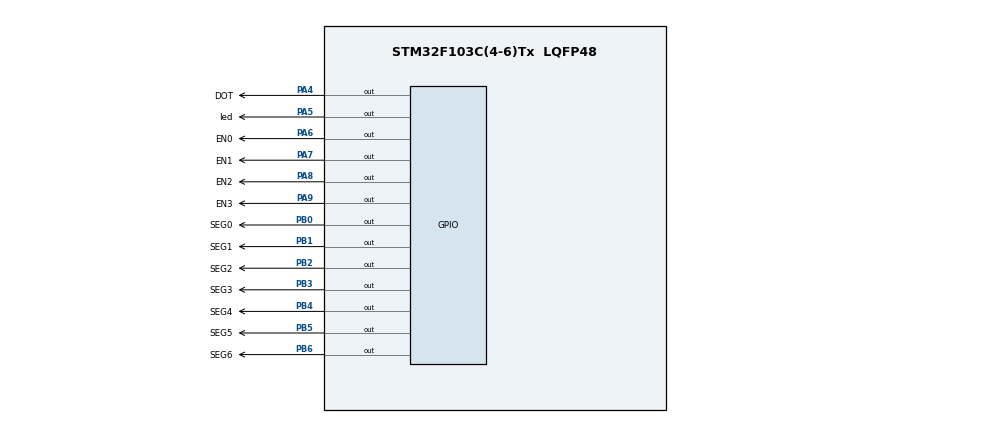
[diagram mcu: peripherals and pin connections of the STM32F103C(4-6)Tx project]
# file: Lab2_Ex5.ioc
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Mcu.Family=STM32F1
Mcu.Name=STM32F103C(4-6)Tx
Mcu.Package=LQFP48
NVIC.PriorityGroup=NVIC_PRIORITYGROUP_4
NVIC.TIM2_IRQn=true\:0\:0\:false\:false\:true\:true\:true
PA4.GPIO_Label=DOT
PA4.Signal=GPIO_Output
PA5.GPIO_Label=led
PA5.Signal=GPIO_Output
PA6.GPIO_Label=EN0
PA6.Signal=GPIO_Output
PA7.GPIO_Label=EN1
PA7.Signal=GPIO_Output
PA8.GPIO_Label=EN2
PA8.Signal=GPIO_Output
PA9.GPIO_Label=EN3
PA9.Signal=GPIO_Output
PB0.GPIO_Label=SEG0
PB0.Signal=GPIO_Output
PB1.GPIO_Label=SEG1
PB1.Signal=GPIO_Output
PB2.GPIO_Label=SEG2
PB2.Signal=GPIO_Output
PB3.GPIO_Label=SEG3
PB3.Signal=GPIO_Output
PB4.GPIO_Label=SEG4
PB4.Signal=GPIO_Output
PB5.GPIO_Label=SEG5
PB5.Signal=GPIO_Output
PB6.GPIO_Label=SEG6
PB6.Signal=GPIO_Output
ProjectManager.HeapSize=0x200
ProjectManager.StackSize=0x400
ProjectManager.TargetToolchain=STM32CubeIDE
RCC.APB1Freq_Value=8000000
RCC.APB2Freq_Value=8000000
TIM2.Period=9
TIM2.Prescaler=7999
VP_SYS_VS_ND.Mode=No_Debug
VP_TIM2_VS_ClockSourceINT.Mode=Internal
board=custom

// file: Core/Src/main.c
/* USER CODE BEGIN Header */
/**
  ******************************************************************************
  * @file           : main.c
  * @brief          : Main program body
  ******************************************************************************
  * @attention
  *
  * <h2><center>&copy; Copyright (c) 2021 STMicroelectronics.
  * All rights reserved.</center></h2>
  *
  * This software component is licensed by ST under BSD 3-Clause license,
  * the "License"; You may not use this file except in compliance with the
  * License. You may obtain a copy of the License at:
  *                        opensource.org/licenses/BSD-3-Clause
  *
  ******************************************************************************
  */
/* USER CODE END Header */
#include "main.h"

TIM_HandleTypeDef htim2;

void SystemClock_Config(void);
static void MX_GPIO_Init(void);
static void MX_TIM2_Init(void);

/* USER CODE BEGIN 0 */
void display7SEG(int num){
	switch(num){
	case 0:
		HAL_GPIO_WritePin(SEG0_GPIO_Port, SEG0_Pin, GPIO_PIN_RESET);
		HAL_GPIO_WritePin(SEG1_GPIO_Port, SEG1_Pin, GPIO_PIN_RESET);
		HAL_GPIO_WritePin(SEG2_GPIO_Port, SEG2_Pin, GPIO_PIN_RESET);
		HAL_GPIO_WritePin(SEG3_GPIO_Port, SEG3_Pin, GPIO_PIN_RESET);
		HAL_GPIO_WritePin(SEG4_GPIO_Port, SEG4_Pin, GPIO_PIN_RESET);
		HAL_GPIO_WritePin(SEG5_GPIO_Port, SEG5_Pin, GPIO_PIN_RESET);
		HAL_GPIO_WritePin(SEG6_GPIO_Port, SEG6_Pin, GPIO_PIN_SET);
		break;
	case 1:
		HAL_GPIO_WritePin(SEG0_GPIO_Port, SEG0_Pin, GPIO_PIN_SET);
		HAL_GPIO_WritePin(SEG1_GPIO_Port, SEG1_Pin, GPIO_PIN_RESET);
		HAL_GPIO_WritePin(SEG2_GPIO_Port, SEG2_Pin, GPIO_PIN_RESET);
		HAL_GPIO_WritePin(SEG3_GPIO_Port, SEG3_Pin, GPIO_PIN_SET);
		HAL_GPIO_WritePin(SEG4_GPIO_Port, SEG4_Pin, GPIO_PIN_SET);
		HAL_GPIO_WritePin(SEG5_GPIO_Port, SEG5_Pin, GPIO_PIN_SET);
		HAL_GPIO_WritePin(SEG6_GPIO_Port, SEG6_Pin, GPIO_PIN_SET);
		break;
	case 2:
		HAL_GPIO_WritePin(SEG0_GPIO_Port, SEG0_Pin, GPIO_PIN_RESET);
		HAL_GPIO_WritePin(SEG1_GPIO_Port, SEG1_Pin, GPIO_PIN_RESET);
		HAL_GPIO_WritePin(SEG2_GPIO_Port, SEG2_Pin, GPIO_PIN_SET);
		HAL_GPIO_WritePin(SEG3_GPIO_Port, SEG3_Pin, GPIO_PIN_RESET);
		HAL_GPIO_WritePin(SEG4_GPIO_Port, SEG4_Pin, GPIO_PIN_RESET);
		HAL_GPIO_WritePin(SEG5_GPIO_Port, SEG5_Pin, GPIO_PIN_SET);
		HAL_GPIO_WritePin(SEG6_GPIO_Port, SEG6_Pin, GPIO_PIN_RESET);
		break;
	case 3:
		HAL_GPIO_WritePin(SEG0_GPIO_Port, SEG0_Pin, GPIO_PIN_RESET);
		HAL_GPIO_WritePin(SEG1_GPIO_Port, SEG1_Pin, GPIO_PIN_RESET);
		HAL_GPIO_WritePin(SEG2_GPIO_Port, SEG2_Pin, GPIO_PIN_RESET);
		HAL_GPIO_WritePin(SEG3_GPIO_Port, SEG3_Pin, GPIO_PIN_RESET);
		HAL_GPIO_WritePin(SEG4_GPIO_Port, SEG4_Pin, GPIO_PIN_SET);
		HAL_GPIO_WritePin(SEG5_GPIO_Port, SEG5_Pin, GPIO_PIN_SET);
		HAL_GPIO_WritePin(SEG6_GPIO_Port, SEG6_Pin, GPIO_PIN_RESET);
		break;
	case 4:
		HAL_GPIO_WritePin(SEG0_GPIO_Port, SEG0_Pin, GPIO_PIN_SET);
		HAL_GPIO_WritePin(SEG1_GPIO_Port, SEG1_Pin, GPIO_PIN_RESET);
		HAL_GPIO_WritePin(SEG2_GPIO_Port, SEG2_Pin, GPIO_PIN_RESET);
		HAL_GPIO_WritePin(SEG3_GPIO_Port, SEG3_Pin, GPIO_PIN_SET);
		HAL_GPIO_WritePin(SEG4_GPIO_Port, SEG4_Pin, GPIO_PIN_SET);
		HAL_GPIO_WritePin(SEG5_GPIO_Port, SEG5_Pin, GPIO_PIN_RESET);
		HAL_GPIO_WritePin(SEG6_GPIO_Port, SEG6_Pin, GPIO_PIN_RESET);
		break;
	case 5:
		HAL_GPIO_WritePin(SEG0_GPIO_Port, SEG0_Pin, GPIO_PIN_RESET);
		HAL_GPIO_WritePin(SEG1_GPIO_Port, SEG1_Pin, GPIO_PIN_SET);
		HAL_GPIO_WritePin(SEG2_GPIO_Port, SEG2_Pin, GPIO_PIN_RESET);
		HAL_GPIO_WritePin(SEG3_GPIO_Port, SEG3_Pin, GPIO_PIN_RESET);
		HAL_GPIO_WritePin(SEG4_GPIO_Port, SEG4_Pin, GPIO_PIN_SET);
		HAL_GPIO_WritePin(SEG5_GPIO_Port, SEG5_Pin, GPIO_PIN_RESET);
		HAL_GPIO_WritePin(SEG6_GPIO_Port, SEG6_Pin, GPIO_PIN_RESET);
		break;
	case 6:
		HAL_GPIO_WritePin(SEG0_GPIO_Port, SEG0_Pin, GPIO_PIN_RESET);
		HAL_GPIO_WritePin(SEG1_GPIO_Port, SEG1_Pin, GPIO_PIN_SET);
		HAL_GPIO_WritePin(SEG2_GPIO_Port, SEG2_Pin, GPIO_PIN_RESET);
		HAL_GPIO_WritePin(SEG3_GPIO_Port, SEG3_Pin, GPIO_PIN_RESET);
		HAL_GPIO_WritePin(SEG4_GPIO_Port, SEG4_Pin, GPIO_PIN_RESET);
		HAL_GPIO_WritePin(SEG5_GPIO_Port, SEG5_Pin, GPIO_PIN_RESET);
		HAL_GPIO_WritePin(SEG6_GPIO_Port, SEG6_Pin, GPIO_PIN_RESET);
		break;
	case 7:
		HAL_GPIO_WritePin(SEG0_GPIO_Port, SEG0_Pin, GPIO_PIN_RESET);
		HAL_GPIO_WritePin(SEG1_GPIO_Port, SEG1_Pin, GPIO_PIN_RESET);
		HAL_GPIO_WritePin(SEG2_GPIO_Port, SEG2_Pin, GPIO_PIN_RESET);
		HAL_GPIO_WritePin(SEG3_GPIO_Port, SEG3_Pin, GPIO_PIN_SET);
		HAL_GPIO_WritePin(SEG4_GPIO_Port, SEG4_Pin, GPIO_PIN_SET);
		HAL_GPIO_WritePin(SEG5_GPIO_Port, SEG5_Pin, GPIO_PIN_SET);
		HAL_GPIO_WritePin(SEG6_GPIO_Port, SEG6_Pin, GPIO_PIN_SET);
		break;
	case 8:
		HAL_GPIO_WritePin(SEG0_GPIO_Port, SEG0_Pin, GPIO_PIN_RESET);
		HAL_GPIO_WritePin(SEG1_GPIO_Port, SEG1_Pin, GPIO_PIN_RESET);
		HAL_GPIO_WritePin(SEG2_GPIO_Port, SEG2_Pin, GPIO_PIN_RESET);
		HAL_GPIO_WritePin(SEG3_GPIO_Port, SEG3_Pin, GPIO_PIN_RESET);
		HAL_GPIO_WritePin(SEG4_GPIO_Port, SEG4_Pin, GPIO_PIN_RESET);
		HAL_GPIO_WritePin(SEG5_GPIO_Port, SEG5_Pin, GPIO_PIN_RESET);
		HAL_GPIO_WritePin(SEG6_GPIO_Port, SEG6_Pin, GPIO_PIN_RESET);
		break;
	case 9:
		HAL_GPIO_WritePin(SEG0_GPIO_Port, SEG0_Pin, GPIO_PIN_RESET);
		HAL_GPIO_WritePin(SEG1_GPIO_Port, SEG1_Pin, GPIO_PIN_RESET);
		HAL_GPIO_WritePin(SEG2_GPIO_Port, SEG2_Pin, GPIO_PIN_RESET);
		HAL_GPIO_WritePin(SEG3_GPIO_Port, SEG3_Pin, GPIO_PIN_RESET);
		HAL_GPIO_WritePin(SEG4_GPIO_Port, SEG4_Pin, GPIO_PIN_SET);
		HAL_GPIO_WritePin(SEG5_GPIO_Port, SEG5_Pin, GPIO_PIN_RESET);
		HAL_GPIO_WritePin(SEG6_GPIO_Port, SEG6_Pin, GPIO_PIN_RESET);
		break;
	}

}
const int MAX_LED = 4;
 int index_led = 0;
 int led_buffer[4] = {1 , 2 , 3 , 4};
 void update7SEG ( int index ) {
 switch ( index ) {
	 case 0:
	 // Display the first 7 SEG with led_buffer [0]
		 HAL_GPIO_WritePin(EN0_GPIO_Port, EN0_Pin,  GPIO_PIN_RESET);
		 HAL_GPIO_WritePin(EN1_GPIO_Port, EN1_Pin,  GPIO_PIN_SET);
		 HAL_GPIO_WritePin(EN2_GPIO_Port, EN2_Pin,  GPIO_PIN_SET);
		 HAL_GPIO_WritePin(EN3_GPIO_Port, EN3_Pin,  GPIO_PIN_SET);
		 display7SEG(led_buffer[0]);
		 break ;
	 case 1:
	 // Display the second 7 SEG with led_buffer [1]
		 HAL_GPIO_WritePin(EN0_GPIO_Port, EN0_Pin,  GPIO_PIN_SET);
		 HAL_GPIO_WritePin(EN1_GPIO_Port, EN1_Pin,  GPIO_PIN_RESET);
		 HAL_GPIO_WritePin(EN2_GPIO_Port, EN2_Pin,  GPIO_PIN_SET);
		 HAL_GPIO_WritePin(EN3_GPIO_Port, EN3_Pin,  GPIO_PIN_SET);
		 display7SEG(led_buffer[1]);
		 break ;
	 case 2:
	 // Display the third 7 SEG with led_buffer [2]
		 HAL_GPIO_WritePin(EN0_GPIO_Port, EN0_Pin,  GPIO_PIN_SET);
		 HAL_GPIO_WritePin(EN1_GPIO_Port, EN1_Pin,  GPIO_PIN_SET);
		 HAL_GPIO_WritePin(EN2_GPIO_Port, EN2_Pin,  GPIO_PIN_RESET);
		 HAL_GPIO_WritePin(EN3_GPIO_Port, EN3_Pin,  GPIO_PIN_SET);
		 display7SEG(led_buffer[2]);
		 break ;
	 case 3:
	 // Display the forth 7 SEG with led_buffer [3]
		 HAL_GPIO_WritePin(EN0_GPIO_Port, EN0_Pin,  GPIO_PIN_SET);
		 HAL_GPIO_WritePin(EN1_GPIO_Port, EN1_Pin,  GPIO_PIN_SET);
		 HAL_GPIO_WritePin(EN2_GPIO_Port, EN2_Pin,  GPIO_PIN_SET);
		 HAL_GPIO_WritePin(EN3_GPIO_Port, EN3_Pin,  GPIO_PIN_RESET);
		 display7SEG(led_buffer[3]);
		 break ;
	 default :
		 break ;
	 }
 }

int hour = 15 , minute = 59 , second = 57;
void updateClockBuffer(){
	led_buffer[0] = hour/10;
	led_buffer[1] = hour%10;
	led_buffer[2] = minute/10;
	led_buffer[3] = minute%10;
}

int timer0_counter = 0;
int segcount = 0;
int timer1_flag = 0;
int timer0_flag = 0;
int TIMER_CYCLE = 10;
void setTimer0 ( int duration ) {
	 timer0_counter = duration / TIMER_CYCLE ;
	 timer0_flag = 0;
}
void setTimer1 ( int duration ) {
	 segcount = duration / (MAX_LED*10);
	 timer1_flag = 0;
}
 void timer_run() {
	 if( timer0_counter > 0) {
		 timer0_counter--;
		 if( timer0_counter == 0) timer0_flag = 1;
	 }
	 if( segcount > 0) {
		 segcount--;
		 if( segcount == 0) timer1_flag = 1;
	 }
 }
/* USER CODE END 0 */

int main(void)
{

  /* MCU Configuration--------------------------------------------------------*/

  /* Reset of all peripherals, Initializes the Flash interface and the Systick. */
  HAL_Init();

  /* Configure the system clock */
  SystemClock_Config();

  /* Initialize all configured peripherals */
  MX_GPIO_Init();
  MX_TIM2_Init();
  /* USER CODE BEGIN 2 */
  HAL_TIM_Base_Start_IT(&htim2);

  /* USER CODE END 2 */

  /* Infinite loop */
  /* USER CODE BEGIN WHILE */
  int first = 1;
  setTimer0(1000);
  setTimer1(1000);
  while (1)
  {
	  if(first==1){
		  updateClockBuffer();
		  first =0;
	  }

	  if( minute >= 60) {
		   minute = 0;
		   hour++;
	   }
	   if( hour >=24) {
		   hour = 0;
	   }

	   if( timer0_flag == 1) {
			second++;
			if ( second >= 60) {
			   second = 0;
			   minute++;
			}
			updateClockBuffer();
			HAL_GPIO_TogglePin ( led_GPIO_Port , led_Pin ) ;
			HAL_GPIO_TogglePin ( DOT_GPIO_Port , DOT_Pin ) ;
			setTimer0(1000) ;
	   	 }
	   	  if(timer1_flag == 1){
	   		update7SEG(index_led++);
			if(index_led>3) index_led=0;
			setTimer1(1000);
	   	  }

	 /* USER CODE END WHILE */

  }
}

void SystemClock_Config(void)
{
  RCC_OscInitTypeDef RCC_OscInitStruct = {0};
  RCC_ClkInitTypeDef RCC_ClkInitStruct = {0};

  /** Initializes the RCC Oscillators according to the specified parameters
  * in the RCC_OscInitTypeDef structure.
  */
  RCC_OscInitStruct.OscillatorType = RCC_OSCILLATORTYPE_HSI;
  RCC_OscInitStruct.HSIState = RCC_HSI_ON;
  RCC_OscInitStruct.HSICalibrationValue = RCC_HSICALIBRATION_DEFAULT;
  RCC_OscInitStruct.PLL.PLLState = RCC_PLL_NONE;
  if (HAL_RCC_OscConfig(&RCC_OscInitStruct) != HAL_OK)
  {
    Error_Handler();
  }
  /** Initializes the CPU, AHB and APB buses clocks
  */
  RCC_ClkInitStruct.ClockType = RCC_CLOCKTYPE_HCLK|RCC_CLOCKTYPE_SYSCLK
                              |RCC_CLOCKTYPE_PCLK1|RCC_CLOCKTYPE_PCLK2;
  RCC_ClkInitStruct.SYSCLKSource = RCC_SYSCLKSOURCE_HSI;
  RCC_ClkInitStruct.AHBCLKDivider = RCC_SYSCLK_DIV1;
  RCC_ClkInitStruct.APB1CLKDivider = RCC_HCLK_DIV1;
  RCC_ClkInitStruct.APB2CLKDivider = RCC_HCLK_DIV1;

  if (HAL_RCC_ClockConfig(&RCC_ClkInitStruct, FLASH_LATENCY_0) != HAL_OK)
  {
    Error_Handler();
  }
}

static void MX_TIM2_Init(void)
{

  TIM_ClockConfigTypeDef sClockSourceConfig = {0};
  TIM_MasterConfigTypeDef sMasterConfig = {0};

  htim2.Instance = TIM2;
  htim2.Init.Prescaler = 7999;
  htim2.Init.CounterMode = TIM_COUNTERMODE_UP;
  htim2.Init.Period = 9;
  htim2.Init.ClockDivision = TIM_CLOCKDIVISION_DIV1;
  htim2.Init.AutoReloadPreload = TIM_AUTORELOAD_PRELOAD_DISABLE;
  if (HAL_TIM_Base_Init(&htim2) != HAL_OK)
  {
    Error_Handler();
  }
  sClockSourceConfig.ClockSource = TIM_CLOCKSOURCE_INTERNAL;
  if (HAL_TIM_ConfigClockSource(&htim2, &sClockSourceConfig) != HAL_OK)
  {
    Error_Handler();
  }
  sMasterConfig.MasterOutputTrigger = TIM_TRGO_RESET;
  sMasterConfig.MasterSlaveMode = TIM_MASTERSLAVEMODE_DISABLE;
  if (HAL_TIMEx_MasterConfigSynchronization(&htim2, &sMasterConfig) != HAL_OK)
  {
    Error_Handler();
  }

}

static void MX_GPIO_Init(void)
{
  GPIO_InitTypeDef GPIO_InitStruct = {0};

  /* GPIO Ports Clock Enable */
  __HAL_RCC_GPIOA_CLK_ENABLE();
  __HAL_RCC_GPIOB_CLK_ENABLE();

  /*Configure GPIO pin Output Level */
  HAL_GPIO_WritePin(GPIOA, DOT_Pin|led_Pin|EN0_Pin|EN1_Pin
                          |EN2_Pin|EN3_Pin, GPIO_PIN_RESET);

  /*Configure GPIO pin Output Level */
  HAL_GPIO_WritePin(GPIOB, SEG0_Pin|SEG1_Pin|SEG2_Pin|SEG3_Pin
                          |SEG4_Pin|SEG5_Pin|SEG6_Pin, GPIO_PIN_RESET);

  /*Configure GPIO pins : DOT_Pin led_Pin EN0_Pin EN1_Pin
                           EN2_Pin EN3_Pin */
  GPIO_InitStruct.Pin = DOT_Pin|led_Pin|EN0_Pin|EN1_Pin
                          |EN2_Pin|EN3_Pin;
  GPIO_InitStruct.Mode = GPIO_MODE_OUTPUT_PP;
  GPIO_InitStruct.Pull = GPIO_NOPULL;
  GPIO_InitStruct.Speed = GPIO_SPEED_FREQ_LOW;
  HAL_GPIO_Init(GPIOA, &GPIO_InitStruct);

  /*Configure GPIO pins : SEG0_Pin SEG1_Pin SEG2_Pin SEG3_Pin
                           SEG4_Pin SEG5_Pin SEG6_Pin */
  GPIO_InitStruct.Pin = SEG0_Pin|SEG1_Pin|SEG2_Pin|SEG3_Pin
                          |SEG4_Pin|SEG5_Pin|SEG6_Pin;
  GPIO_InitStruct.Mode = GPIO_MODE_OUTPUT_PP;
  GPIO_InitStruct.Pull = GPIO_NOPULL;
  GPIO_InitStruct.Speed = GPIO_SPEED_FREQ_LOW;
  HAL_GPIO_Init(GPIOB, &GPIO_InitStruct);

}

/* USER CODE BEGIN 4 */

//int countSEG = 25;
 void HAL_TIM_PeriodElapsedCallback ( TIM_HandleTypeDef * htim )
{
	 timer_run();
	 //countSEG--;

}
/* USER CODE END 4 */

void Error_Handler(void)
{
  __disable_irq();
  while (1)
  {
  }
}

/************************ (C) COPYRIGHT STMicroelectronics *****END OF FILE****/
